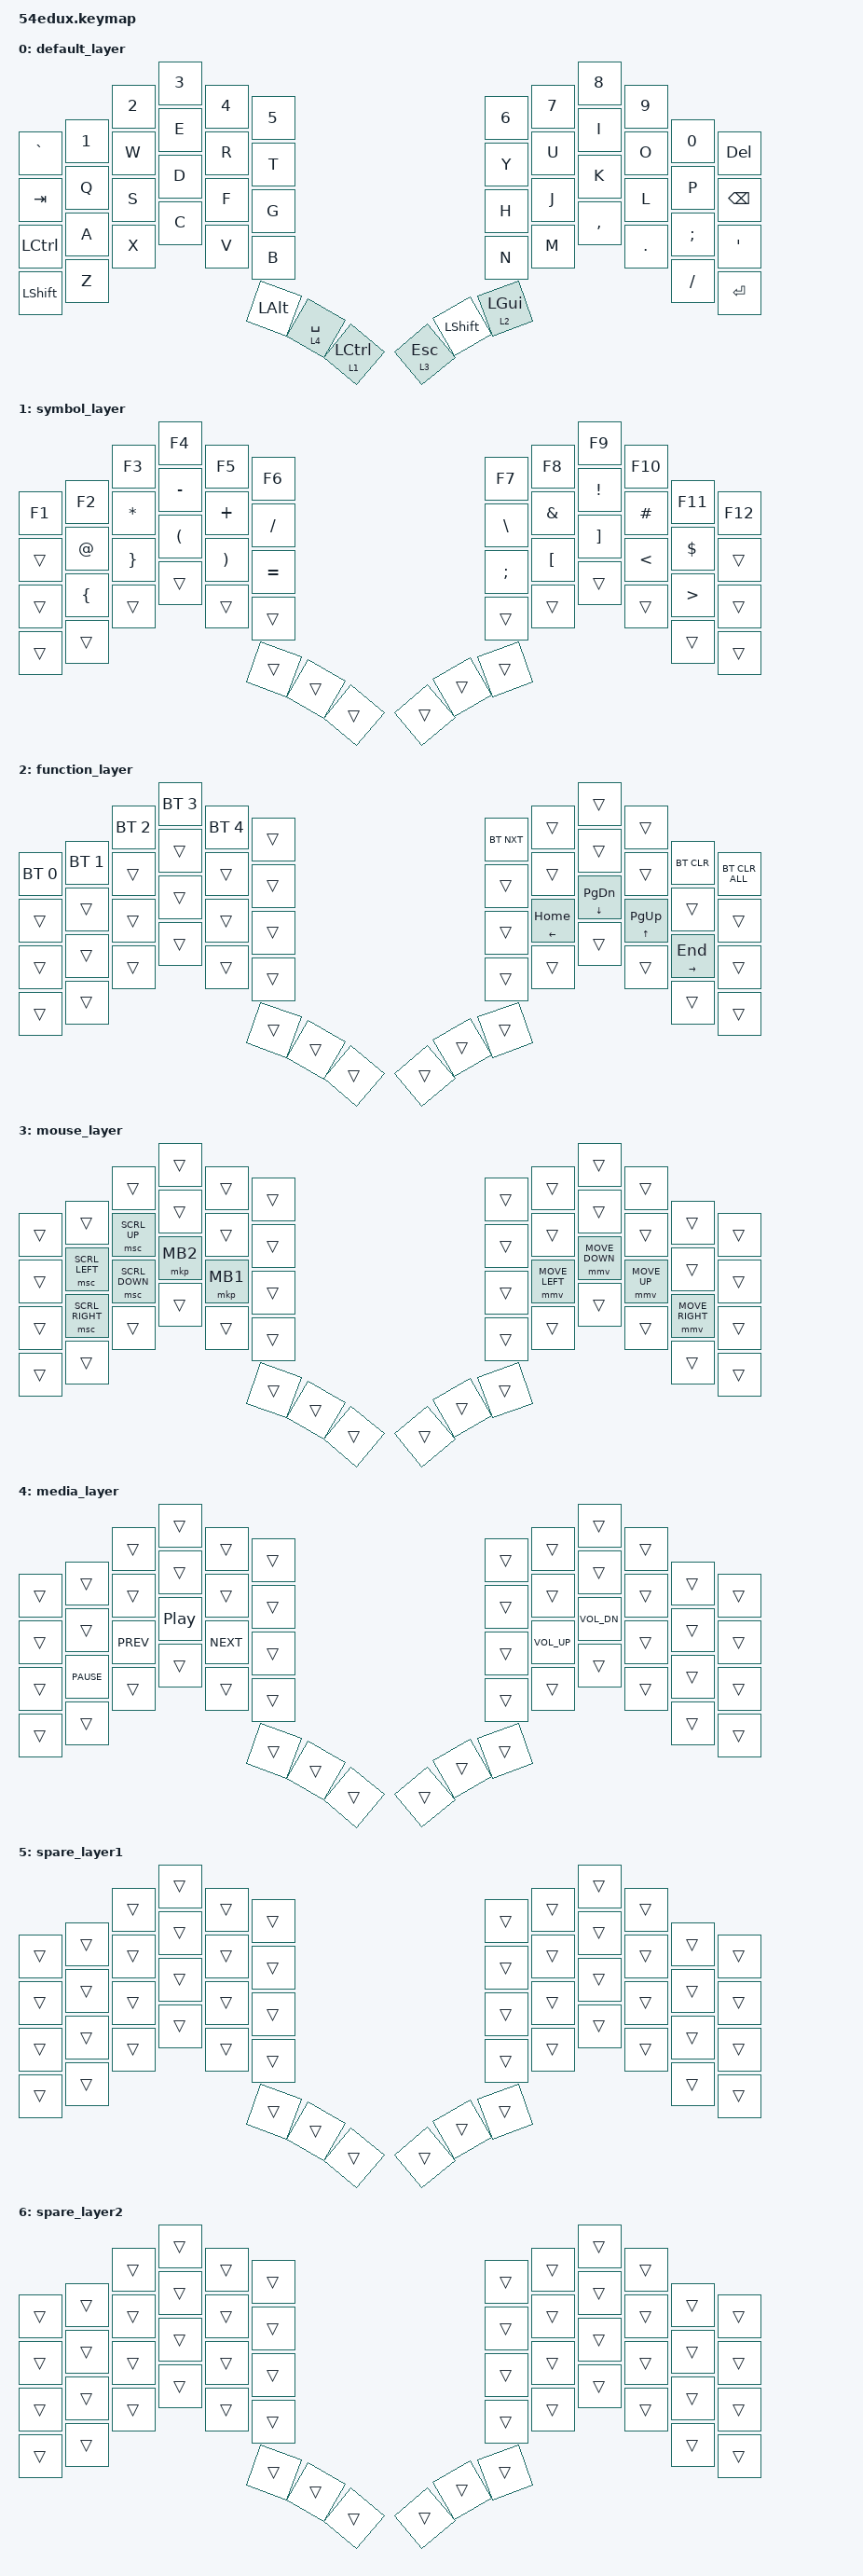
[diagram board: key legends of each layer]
#include <behaviors.dtsi>
#include <dt-bindings/zmk/bt.h>
#include <dt-bindings/zmk/keys.h>
#include <dt-bindings/zmk/pointing.h>

/ {
    combos {
        compatible = "zmk,combos";

        combo_alt_l {
            bindings = <&kp RALT>;
            key-positions = <28 27>;
        };

        combo_alt_r {
            bindings = <&kp RALT>;
            key-positions = <31 32>;
        };

        combo_esc {
            bindings = <&kp ESC>;
            key-positions = <0 1>;
        };
    };

    keymap {
        compatible = "zmk,keymap";

        default_layer {
            bindings = <
&kp GRAVE  &kp N1  &kp NUMBER_2  &kp NUMBER_3  &kp NUMBER_4  &kp NUMBER_5    &kp NUMBER_6  &kp NUMBER_7    &kp NUMBER_8    &kp NUMBER_9  &kp NUMBER_0  &kp DELETE
&kp TAB    &kp Q   &kp W         &kp E         &kp R         &kp T           &kp Y         &kp U           &kp I           &kp O         &kp P         &kp BSPC
&kp LCTRL  &kp A   &kp S         &kp D         &kp F         &kp G           &kp H         &kp J           &kp K           &kp L         &kp SEMI      &kp SQT
&kp LSHFT  &kp Z   &kp X         &kp C         &kp V         &kp B           &kp N         &kp M           &kp COMMA       &kp DOT       &kp FSLH      &kp ENTER
                                 &kp LALT      &lt 4 SPACE   &lt 1 LCTRL     &lt 3 ESC     &kp LEFT_SHIFT  &lt 2 LEFT_GUI
            >;
        };

        symbol_layer {
            bindings = <
&kp F1  &kp F2          &kp F3           &kp F4                &kp F5                 &kp F6       &kp F7         &kp F8            &kp F9             &kp F10        &kp F11           &kp F12
&trans  &kp AT_SIGN     &kp ASTERISK     &kp MINUS             &kp PLUS               &kp SLASH    &kp BACKSLASH  &kp AMPERSAND     &kp EXCLAMATION    &kp HASH       &kp DOLLAR        &trans
&trans  &kp LEFT_BRACE  &kp RIGHT_BRACE  &kp LEFT_PARENTHESIS  &kp RIGHT_PARENTHESIS  &kp EQUAL    &kp SEMICOLON  &kp LEFT_BRACKET  &kp RIGHT_BRACKET  &kp LESS_THAN  &kp GREATER_THAN  &trans
&trans  &trans          &trans           &trans                &trans                 &trans       &trans         &trans            &trans             &trans         &trans            &trans
                                         &trans                &trans                 &trans       &trans         &trans            &trans
            >;
        };

        function_layer {
            bindings = <
&bt BT_SEL 0  &bt BT_SEL 1  &bt BT_SEL 2  &bt BT_SEL 3  &bt BT_SEL 4  &trans    &bt BT_NXT  &trans         &trans                &trans              &bt BT_CLR     &bt BT_CLR_ALL
&trans        &trans        &trans        &trans        &trans        &trans    &trans      &trans         &trans                &trans              &trans         &trans
&trans        &trans        &trans        &trans        &trans        &trans    &trans      &mt LEFT HOME  &mt DOWN_ARROW PG_DN  &mt UP_ARROW PG_UP  &mt RIGHT END  &trans
&trans        &trans        &trans        &trans        &trans        &trans    &trans      &trans         &trans                &trans              &trans         &trans
                                          &trans        &trans        &trans    &trans      &trans         &trans
            >;
        };

        mouse_layer {
            bindings = <
&trans  &trans           &trans          &trans    &trans    &trans    &trans  &trans          &trans          &trans        &trans           &trans
&trans  &msc SCRL_LEFT   &msc SCRL_UP    &trans    &trans    &trans    &trans  &trans          &trans          &trans        &trans           &trans
&trans  &msc SCRL_RIGHT  &msc SCRL_DOWN  &mkp MB2  &mkp MB1  &trans    &trans  &mmv MOVE_LEFT  &mmv MOVE_DOWN  &mmv MOVE_UP  &mmv MOVE_RIGHT  &trans
&trans  &trans           &trans          &trans    &trans    &trans    &trans  &trans          &trans          &trans        &trans           &trans
                                         &trans    &trans    &trans    &trans  &trans          &trans
            >;
        };

        media_layer {
            bindings = <
&trans  &trans       &trans      &trans            &trans      &trans    &trans  &trans        &trans        &trans  &trans  &trans
&trans  &trans       &trans      &trans            &trans      &trans    &trans  &trans        &trans        &trans  &trans  &trans
&trans  &kp C_PAUSE  &kp C_PREV  &kp C_PLAY_PAUSE  &kp C_NEXT  &trans    &trans  &kp C_VOL_UP  &kp C_VOL_DN  &trans  &trans  &trans
&trans  &trans       &trans      &trans            &trans      &trans    &trans  &trans        &trans        &trans  &trans  &trans
                                 &trans            &trans      &trans    &trans  &trans        &trans
            >;
        };

        spare_layer1 {
            bindings = <
&trans  &trans  &trans  &trans  &trans  &trans    &trans  &trans  &trans  &trans  &trans  &trans
&trans  &trans  &trans  &trans  &trans  &trans    &trans  &trans  &trans  &trans  &trans  &trans
&trans  &trans  &trans  &trans  &trans  &trans    &trans  &trans  &trans  &trans  &trans  &trans
&trans  &trans  &trans  &trans  &trans  &trans    &trans  &trans  &trans  &trans  &trans  &trans
                        &trans  &trans  &trans    &trans  &trans  &trans
            >;
        };

        spare_layer2 {
            bindings = <
&trans  &trans  &trans  &trans  &trans  &trans    &trans  &trans  &trans  &trans  &trans  &trans
&trans  &trans  &trans  &trans  &trans  &trans    &trans  &trans  &trans  &trans  &trans  &trans
&trans  &trans  &trans  &trans  &trans  &trans    &trans  &trans  &trans  &trans  &trans  &trans
&trans  &trans  &trans  &trans  &trans  &trans    &trans  &trans  &trans  &trans  &trans  &trans
                        &trans  &trans  &trans    &trans  &trans  &trans
            >;
        };
    };
};
